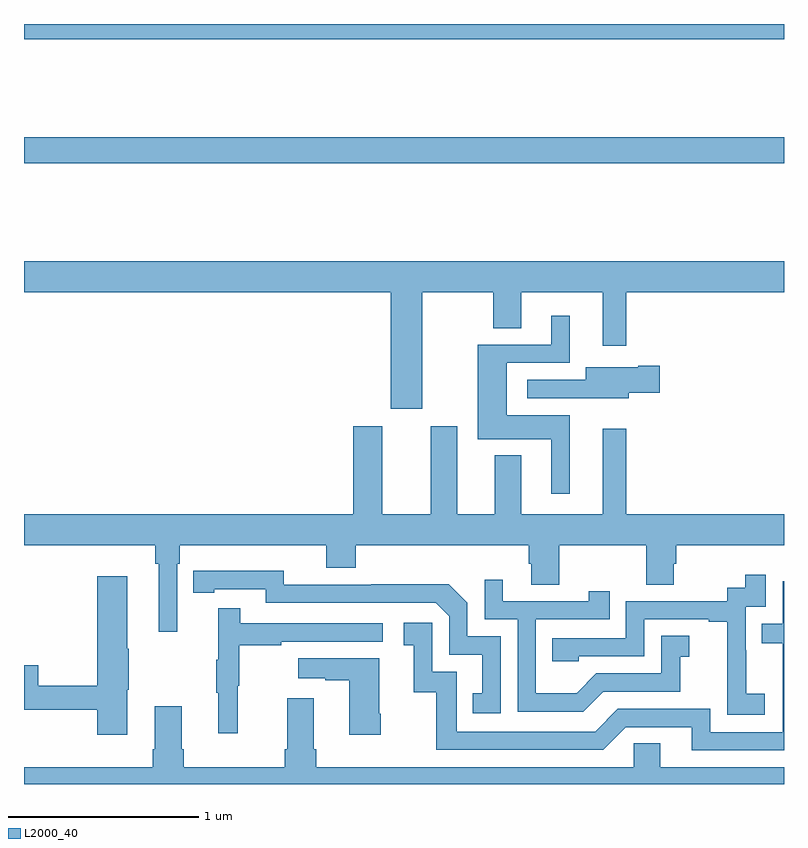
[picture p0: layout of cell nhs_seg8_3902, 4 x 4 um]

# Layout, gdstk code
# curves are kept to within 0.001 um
import gdstk
lib = gdstk.Library(unit=1e-6, precision=1e-09)
def R(c, l, rs):  # rectangles x0, y0, x1, y1
    for r in rs: c.add(gdstk.rectangle(r[:2], r[2:], *l))
def P(c, l, *ps):  # polygons
    for p in ps: c.add(gdstk.Polygon(p, *l))
L2000_40 = (2000, 40)

nhs_seg8_3902 = lib.new_cell('nhs_seg8_3902')
R(nhs_seg8_3902, L2000_40, [(351,1129.168,355,1129.304), (351,1129.82,355,1129.9)])
P(nhs_seg8_3902, L2000_40, [(353.095,1128.488),(353.47,1128.488),(353.47,1128.298),(353.617,1128.298),(353.617,1128.488),(354.047,1128.488),(354.047,1128.207),(354.169,1128.207),(354.169,1128.488),(355,1128.488),(355,1128.652),(351,1128.652),(351,1128.488),(352.931,1128.488),(352.931,1127.874),(353.095,1127.874)],
  [(353.872,1127.842),(353.542,1127.842),(353.542,1128.117),(353.872,1128.117),(353.872,1128.364),(353.774,1128.364),(353.774,1128.213),(353.389,1128.213),(353.389,1127.714),(353.774,1127.714),(353.774,1127.427),(353.872,1127.427)],
  [(354.184,1127.96),(354.346,1127.96),(354.346,1128.102),(354.233,1128.102),(354.233,1128.094),(353.957,1128.094),(353.957,1128.027),(353.649,1128.027),(353.649,1127.931),(353.961,1127.931),(353.961,1127.93),(354.184,1127.93)],
  [(351.807,1127.06),(351.821,1127.06),(351.821,1127.156),(352.592,1127.156),(352.592,1127.039),(352.745,1127.039),(352.745,1127.156),(353.657,1127.156),(353.657,1127.058),(353.669,1127.058),(353.669,1126.948),(353.817,1126.948),(353.817,1127.156),(354.274,1127.156),(354.274,1126.948),(354.421,1126.948),(354.421,1127.058),(354.434,1127.058),(354.434,1127.156),(355,1127.156),(355,1127.32),(354.169,1127.32),(354.169,1127.77),(354.047,1127.77),(354.047,1127.32),(353.617,1127.32),(353.617,1127.629),(353.477,1127.629),(353.477,1127.32),(353.281,1127.32),(353.281,1127.782),(353.141,1127.782),(353.141,1127.32),(352.885,1127.32),(352.885,1127.782),(352.733,1127.782),(352.733,1127.32),(351,1127.32),(351,1127.156),(351.691,1127.156),(351.691,1127.06),(351.71,1127.06),(351.71,1126.701),(351.807,1126.701)],
  [(353.508,1126.677),(353.334,1126.677),(353.334,1126.854),(353.236,1126.952),(352.828,1126.952),(352.828,1126.95),(352.368,1126.95),(352.368,1127.023),(351.892,1127.022),(351.892,1126.906),(352,1126.906),(352,1126.926),(352.272,1126.926),(352.272,1126.854),(353.166,1126.854),(353.238,1126.782),(353.238,1126.581),(353.411,1126.581),(353.411,1126.377),(353.362,1126.377),(353.362,1126.272),(353.508,1126.272)],
  [(354.898,1126.375),(354.8,1126.375),(354.8,1126.604),(354.798,1126.604),(354.798,1126.833),(354.903,1126.833),(354.903,1127.002),(354.795,1127.002),(354.795,1126.932),(354.702,1126.932),(354.702,1126.863),(354.168,1126.863),(354.168,1126.668),(353.779,1126.668),(353.779,1126.545),(353.919,1126.545),(353.919,1126.572),(354.264,1126.572),(354.264,1126.767),(354.605,1126.767),(354.605,1126.755),(354.701,1126.755),(354.701,1126.471),(354.7,1126.471),(354.7,1126.265),(354.898,1126.265)],
  [(351.544,1126.395),(351.552,1126.395),(351.552,1126.613),(351.544,1126.613),(351.544,1126.993),(351.386,1126.993),(351.386,1126.418),(351.076,1126.418),(351.076,1126.526),(351,1126.526),(351,1126.29),(351.386,1126.29),(351.386,1126.158),(351.544,1126.158)],
  [(354.049,1126.386),(354.453,1126.386),(354.453,1126.571),(354.502,1126.571),(354.502,1126.681),(354.354,1126.681),(354.354,1126.482),(354.012,1126.482),(353.908,1126.378),(353.694,1126.378),(353.694,1126.767),(354.083,1126.767),(354.083,1126.915),(353.972,1126.915),(353.972,1126.863),(353.521,1126.863),(353.521,1126.975),(353.424,1126.975),(353.424,1126.767),(353.598,1126.767),(353.598,1126.281),(353.944,1126.281)],
  [(355,1126.968),(354.993,1126.968),(354.993,1126.743),(354.883,1126.743),(354.883,1126.642),(354.993,1126.642),(354.993,1126.173),(354.612,1126.173),(354.612,1126.296),(354.126,1126.296),(354.006,1126.176),(353.277,1126.176),(353.277,1126.491),(353.148,1126.491),(353.148,1126.75),(352.998,1126.75),(352.998,1126.629),(353.051,1126.629),(353.051,1126.383),(353.169,1126.383),(353.169,1126.08),(354.048,1126.08),(354.168,1126.2),(354.515,1126.2),(354.515,1126.077),(355,1126.077)],
  [(352.124,1126.416),(352.132,1126.416),(352.132,1126.63),(352.355,1126.63),(352.355,1126.65),(352.888,1126.65),(352.888,1126.746),(352.139,1126.746),(352.139,1126.825),(352.022,1126.825),(352.022,1126.553),(352.011,1126.553),(352.011,1126.379),(352.022,1126.379),(352.022,1126.167),(352.124,1126.167)],
  [(352.878,1126.27),(352.87,1126.27),(352.87,1126.561),(352.443,1126.561),(352.443,1126.457),(352.586,1126.457),(352.586,1126.447),(352.712,1126.447),(352.712,1126.158),(352.878,1126.158)],
  [(351.689,1126.309),(351.689,1126.084),(351.677,1126.084),(351.677,1125.988),(351,1125.988),(351,1125.9),(355,1125.9),(355,1125.988),(354.349,1125.988),(354.349,1126.115),(354.21,1126.115),(354.21,1125.988),(352.538,1125.988),(352.538,1126.084),(352.525,1126.084),(352.525,1126.351),(352.385,1126.351),(352.385,1126.084),(352.373,1126.084),(352.373,1125.988),(351.842,1125.988),(351.842,1126.084),(351.829,1126.084),(351.829,1126.309)])

lib.write_gds('nhs_seg8_3902.gds')
